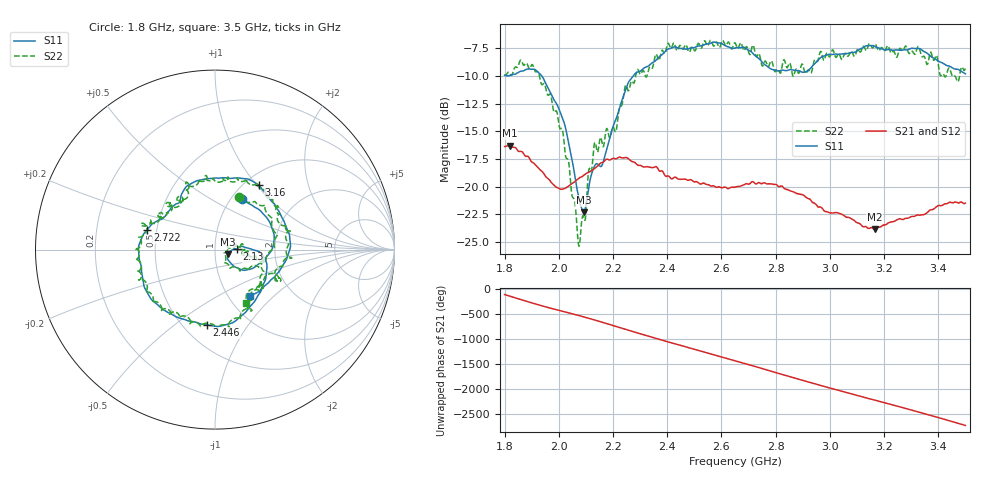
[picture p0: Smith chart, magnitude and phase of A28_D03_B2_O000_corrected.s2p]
! Created with skrf 1.9.0 (http://scikit-rf.org).
# Hz S RI R 50.0
!freq ReS11 ImS11 ReS21 ImS21 ReS12 ImS12 ReS22 ImS22
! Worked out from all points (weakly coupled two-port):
!   1601 points, 1.8 GHz to 3.5 GHz, reference 50 ohm
!   highest |S21| = -16.29 dB at 1.819 GHz (marker M1); lowest = -23.9 dB at 3.165 GHz (marker M2)
!   lowest |S11| = -22.3 dB at 2.091 GHz (marker M3), VSWR 1.17, Z = 57.7 - j2.88 ohm
!   |S11| at or under -10 dB: 1.937 GHz to 2.275 GHz (337 MHz wide, 16 % of centre)
!   |S22| runs from -25.4 to -6.8 dB; largest |S21 - S12| = 0.0026
!   S11 on the Smith chart (normalised r, x): 1.8 GHz: 1.13, +0.70; 2.13 GHz: 1.28, +0.00; 2.446 GHz: 0.65, -0.66; 2.722 GHz: 0.44, +0.12; 3.16 GHz: 1.16, +1.02; 3.5 GHz: 1.26, -0.72
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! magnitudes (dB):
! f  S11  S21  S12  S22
! 1.8 GHz  -9.9  -16.4  -16.4  -9.9
! 1.819 GHz  -10.0  -16.3  -16.3  -9.8
! 1.903 GHz  -9.4  -17.8  -17.8  -9.0
! 1.968 GHz  -11.4  -19.5  -19.5  -11.6
! 2.015 GHz  -13.9  -20.2  -20.2  -15.0
! 2.072 GHz  -20.8  -19.3  -19.3  -25.2
! 2.084 GHz  -21.9  -19.1  -19.1  -23.3
! 2.091 GHz  -22.3  -19.0  -19.0  -22.6
! 2.13 GHz  -18.2  -18.4  -18.4  -16.2
! 2.162 GHz  -17.9  -17.8  -17.7  -16.4
! 2.26 GHz  -10.4  -17.6  -17.6  -11.2
! 2.367 GHz  -8.3  -18.5  -18.4  -8.5
! 2.446 GHz  -7.5  -19.3  -19.3  -7.2
! 2.65 GHz  -7.5  -20.0  -20.0  -7.0
! 2.722 GHz  -8.1  -19.7  -19.6  -7.7
! 2.803 GHz  -9.5  -19.8  -19.9  -9.5
! 2.934 GHz  -9.2  -21.4  -21.3  -9.6
! 3.16 GHz  -7.3  -23.8  -23.8  -7.4
! 3.165 GHz  -7.3  -23.9  -23.8  -7.2
! 3.217 GHz  -7.6  -23.3  -23.2  -7.4
! 3.468 GHz  -9.4  -21.4  -21.4  -10.4
! 3.5 GHz  -9.8  -21.5  -21.5  -9.3
